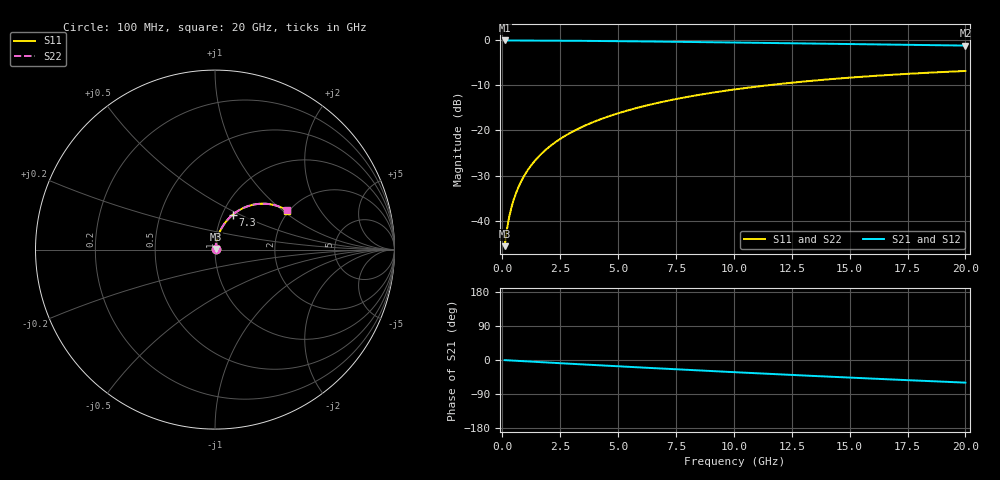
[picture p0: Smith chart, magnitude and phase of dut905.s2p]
! Touchstone file exported from HFSS 2026.1.0
!  File:  C:/ffzhzh/LocalFiles/Ansys_Project_Files/temp_train_BSMRDL_905_1783171485_18472.aedt
!  Generated:  09:26:12 PM Jul  4, 2026
!  Design:  BSMRDL
!  Project:  temp_train_BSMRDL_905_1783171485_18472
! Variables:
!  h_bsmrdl = 5.41um
!  h_ox = 20um
!  h_rdl = 5um
!  h_sub = 80um
!  h_tmrdl = 5um
!  h_tsv = 80um
!  h_via = 3um
!  l_bsmrdl = 977.69um
!  l_sub = 1377.69um
!  l_tmrdl = 200um
!  m_sub = 200um
!  pitch = 39.71um
!  r_tsv = 6um
!  s_tmrdl = 10um
!  w_bsmrdl = 17.24um
!  w_sub = 500um
!  w_tmrdl = 12um
!  x_tsv_center1 = 206um
!  x_tsv_center2 = 1200.93um
!  x_tsv_center3 = 1412.93um
!  x_tsv_center4 = 2407.86um
!  x_tsv_center5 = 2619.86um
!  x_tsv_center6 = 3614.79um
# GHz S MA R 50.000000
! Terminal data exported
! Port[1] = BSM_RDL1_1_T1
! Port[2] = BSM_RDL1_1_T2
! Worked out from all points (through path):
!   200 points, 100 MHz to 20 GHz, reference 50 ohm
!   highest |S21| = -0.03 dB at 100 MHz (marker M1); lowest = -1.2 dB at 20 GHz (marker M2)
!   group delay of S21, straight-line fit = 8.28 ps
!   lowest |S11| = -45.7 dB at 100 MHz (marker M3), VSWR 1.01, Z = 50.4 + j0.355 ohm
!   |S11| at or under -10 dB: start of sweep to 11.42 GHz
!   |S22| runs from -45.7 to -6.8 dB; largest |S21 - S12| = 9.2e-15
!   S11 on the Smith chart (normalised r, x): 100 MHz: 1.01, +0.01; 7.3 GHz: 1.12, +0.46; 20 GHz: 1.95, +1.08
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0.1  0.005217 42.4  0.9962 -0.4  0.9962 -0.4  0.005217 42.4
! Gamma 0 0 0 0
! Port Impedance 50 0 50 0
0.2  0.008034 59.2  0.9959 -0.7  0.9959 -0.7  0.008034 59.2
0.3  0.01108 66.6  0.9957 -1.0  0.9957 -1.0  0.01108 66.6
0.4  0.01417 70.7  0.9956 -1.4  0.9956 -1.4  0.01417 70.7
0.5  0.0173 73.3  0.9954 -1.7  0.9954 -1.7  0.0173 73.3
0.6  0.02045 75.0  0.9952 -2.1  0.9952 -2.1  0.02045 75.0
0.8  0.0268 77.1  0.9949 -2.7  0.9949 -2.7  0.0268 77.1
1.1  0.03638 78.4  0.9944 -3.8  0.9944 -3.8  0.03638 78.4
1.5  0.04916 78.7  0.9935 -5.1  0.9935 -5.1  0.04916 78.7
1.8  0.05869 78.4  0.9927 -6.1  0.9927 -6.1  0.05869 78.4
2.1  0.06815 77.8  0.9917 -7.1  0.9917 -7.1  0.06815 77.9
2.7  0.08685 76.4  0.9895 -9.1  0.9895 -9.1  0.08685 76.4
3.5  0.1112 74.2  0.986 -11.8  0.986 -11.8  0.1112 74.2
4.2  0.132 72.2  0.9826 -14.0  0.9826 -14.0  0.132 72.2
5  0.1551 69.8  0.9783 -16.6  0.9783 -16.6  0.1551 69.9
6.8  0.2047 64.5  0.9675 -22.3  0.9675 -22.3  0.2047 64.5
7.3  0.2179 63.1  0.9642 -23.9  0.9642 -23.9  0.2179 63.1
8.6  0.251 59.3  0.9554 -27.9  0.9554 -27.9  0.251 59.3
10.1  0.2868 55.0  0.9446 -32.4  0.9446 -32.4  0.2868 55.0
13.4  0.3564 45.7  0.9198 -42.0  0.9198 -42.0  0.3564 45.8
16.7  0.413 36.9  0.8956 -51.1  0.8956 -51.1  0.413 36.9
20  0.4571 28.5  0.8741 -59.7  0.8741 -59.7  0.4571 28.5
